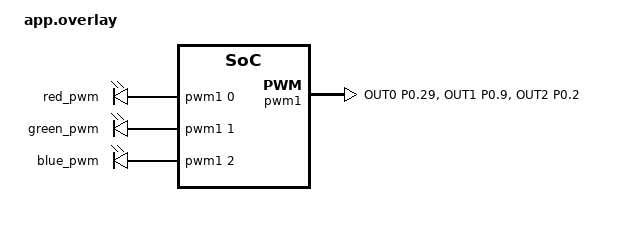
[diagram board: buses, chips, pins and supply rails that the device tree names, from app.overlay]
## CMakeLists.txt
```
cmake_minimum_required(VERSION 3.20.0)

find_package(Zephyr REQUIRED HINTS $ENV{ZEPHYR_BASE})

project(receiver_nrf)

target_sources(app PRIVATE 
        src/main.c
        src/oled.c
        ../common/gesture_config.c
)

target_include_directories(app PRIVATE
    ${CMAKE_CURRENT_SOURCE_DIR}/../common
)
```

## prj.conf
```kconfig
# GPIO
CONFIG_GPIO=y

# Logging
CONFIG_LOG=y
CONFIG_LOG_DEFAULT_LEVEL=3

# Bluetooth Peripheral
CONFIG_BT=y
CONFIG_BT_PERIPHERAL=y
CONFIG_BT_DEVICE_NAME="MyoLight"
CONFIG_BT_MAX_CONN=2

# Wio OLED
CONFIG_DISPLAY=y
CONFIG_CHARACTER_FRAMEBUFFER=y
CONFIG_I2C=y
CONFIG_SSD1306=y

# OLED framebuffer memory
CONFIG_HEAP_MEM_POOL_SIZE=16384

# Hardware PWM for red LED (P0.29)
CONFIG_PWM=y
```

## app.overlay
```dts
#include <zephyr/dt-bindings/pinctrl/nrf-pinctrl.h>
#include <zephyr/dt-bindings/pwm/pwm.h>

/ {
    myo_pwm_leds {
        compatible = "pwm-leds";
        // Verify R/G/B assignment against the real common-anode LED.
        red_pwm: red_pwm {
            pwms = <&pwm1 0 PWM_USEC(1000) PWM_POLARITY_INVERTED>;
        };
        green_pwm: green_pwm {
            pwms = <&pwm1 1 PWM_USEC(1000) PWM_POLARITY_INVERTED>;
        };
        blue_pwm: blue_pwm {
            pwms = <&pwm1 2 PWM_USEC(1000) PWM_POLARITY_INVERTED>;
        };
    };
};

&pinctrl {
    myo_pwm1_default: myo_pwm1_default {
        group1 {
            psels = <NRF_PSEL(PWM_OUT0, 0, 29)>,
                    <NRF_PSEL(PWM_OUT1, 0, 9)>,
                    <NRF_PSEL(PWM_OUT2, 0, 2)>;
        };
    };
    myo_pwm1_sleep: myo_pwm1_sleep {
        group1 {
            psels = <NRF_PSEL(PWM_OUT0, 0, 29)>,
                    <NRF_PSEL(PWM_OUT1, 0, 9)>,
                    <NRF_PSEL(PWM_OUT2, 0, 2)>;
            low-power-enable;
        };
    };
};

&pwm1 {
    status = "okay";
    pinctrl-0 = <&myo_pwm1_default>;
    pinctrl-1 = <&myo_pwm1_sleep>;
    pinctrl-names = "default", "sleep";
};

// Same NFC-pin override used in test_controller_wio for P0.09.
&uicr {
    nfct-pins-as-gpios;
};
```

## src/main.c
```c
#include <string.h>
#include <stdint.h>
#include <stdbool.h>
#include <errno.h>

#include <zephyr/kernel.h>
#include <zephyr/device.h>
#include <zephyr/drivers/gpio.h>
#include <zephyr/drivers/pwm.h>
#include <zephyr/logging/log.h>
#include <zephyr/sys/atomic.h>

#include <zephyr/bluetooth/bluetooth.h>
#include <zephyr/bluetooth/conn.h>
#include <zephyr/bluetooth/gatt.h>
#include <zephyr/bluetooth/uuid.h>

#include "myo_ble.h"
#include "gesture_config.h"
#include "receiver_links.h"
#include "oled.h"

LOG_MODULE_REGISTER(receiver, LOG_LEVEL_INF);

#define LED_NODE DT_ALIAS(led0)
#define RX_TIMEOUT_MS 1500U
#define TENSE_GUARD_MS 250U
#define ADV_RETRY_MS 250U

static const struct gpio_dt_spec led =
    GPIO_DT_SPEC_GET(LED_NODE, gpios);

    
// External common-anode RGB LED (active-low PWM).
// Assumed colors: R=P0.29, G=P0.09, B=P0.02.
#define RED_PWM_NODE DT_NODELABEL(red_pwm)
#define GREEN_PWM_NODE DT_NODELABEL(green_pwm)
#define BLUE_PWM_NODE DT_NODELABEL(blue_pwm)

static const struct pwm_dt_spec red_pwm = PWM_DT_SPEC_GET(RED_PWM_NODE);
static const struct pwm_dt_spec green_pwm = PWM_DT_SPEC_GET(GREEN_PWM_NODE);
static const struct pwm_dt_spec blue_pwm = PWM_DT_SPEC_GET(BLUE_PWM_NODE);

// Color state survives BLE disconnect and normal light toggles.
static atomic_t green_mix;
static atomic_t blue_mix;

static int set_channel(const struct pwm_dt_spec *channel, uint8_t percent)
{
    if (percent > 100U) percent = 100U;
    uint32_t pulse = (uint32_t)(
        ((uint64_t)channel->period * percent) / 100U);
    return pwm_set_dt(channel, channel->period, pulse);
}

static int set_rgb_output(uint8_t brightness,
                          uint8_t green, uint8_t blue)
{
    if (brightness > 100U) brightness = 100U;
    if (green > 100U) green = 100U;
    if (blue > 100U) blue = 100U;

    // Each FLEX/EXTEND shifts color away from red.
    uint8_t dominant = green > blue ? green : blue;
    uint8_t red = 100U - dominant;

    uint8_t r = (uint8_t)((uint32_t)red * brightness / 100U);
    uint8_t g = (uint8_t)((uint32_t)green * brightness / 100U);
    uint8_t b = (uint8_t)((uint32_t)blue * brightness / 100U);

    int err = set_channel(&red_pwm, r);
    if (err) return err;
    err = set_channel(&green_pwm, g);
    if (err) return err;
    return set_channel(&blue_pwm, b);
}

// Shared BLE connection state.
static atomic_t link_up;
static atomic_t advertising_needed;
static struct gc_receiver_links rx_links;
static atomic_t rx_valid;
static atomic_t last_rx_ms;
static atomic_t session_epoch;

// Actual light state, independent of orientation.
static atomic_t light_on;
static atomic_t brightness_pct = ATOMIC_INIT(50);
static atomic_t last_nonzero_brightness = ATOMIC_INIT(50);
static atomic_t brightness_seq_seen;
static atomic_t last_brightness_seq;

// Encoded latest accepted BLE command packet.
// Bits 16-23: packet type
// Bits  8-15: first BLE byte
// Bits  0-7:  second BLE byte
// Zero means no command received.
static atomic_t oled_last_packet;

static void record_oled_packet(
    enum oled_rx_type type,
    uint8_t first,
    uint8_t second)
{
    uint32_t packed =
        ((uint32_t)type << 16) |
        ((uint32_t)first << 8) |
        (uint32_t)second;

    atomic_set(&oled_last_packet, (atomic_val_t)packed);
}


// Queue BLE packets for the main thread.
struct queued_gesture {
    struct myo_gesture_packet packet;
    uint32_t session;
    uint32_t timestamp_ms;
};

K_MSGQ_DEFINE(
    gesture_queue,
    sizeof(struct queued_gesture),
    8,
    4
);

/* Called on the first validated gesture-side GATT write. */
static void begin_gesture_session(void);

static bool accept_gesture_peer(struct bt_conn *conn)
{
    enum gc_claim_result result =
        gc_links_claim(&rx_links, conn, GC_PEER_GESTURE);
    if (result == GC_CLAIM_DENIED) {
        LOG_WRN("Rejected gesture write from other BLE peer");
        return false;
    }
    if (result == GC_CLAIM_NEW) {
        begin_gesture_session();
    }
    return true;
}

static ssize_t config_command_write(
    struct bt_conn *conn, const struct bt_gatt_attr *attr,
    const void *buf, uint16_t len, uint16_t offset, uint8_t flags)
{
    if (gc_links_claim(&rx_links, conn, GC_PEER_CONFIG) ==
        GC_CLAIM_DENIED) {
        return BT_GATT_ERR(BT_ATT_ERR_WRITE_NOT_PERMITTED);
    }
    return gc_config_write(conn, attr, buf, len, offset, flags);
}

static ssize_t config_response_read(
    struct bt_conn *conn, const struct bt_gatt_attr *attr,
    void *buf, uint16_t len, uint16_t offset)
{
    if (gc_links_claim(&rx_links, conn, GC_PEER_CONFIG) ==
        GC_CLAIM_DENIED) {
        return BT_GATT_ERR(BT_ATT_ERR_READ_NOT_PERMITTED);
    }
    return gc_config_read_response(conn, attr, buf, len, offset);
}

static ssize_t config_info_read(
    struct bt_conn *conn, const struct bt_gatt_attr *attr,
    void *buf, uint16_t len, uint16_t offset)
{
    if (gc_links_claim(&rx_links, conn, GC_PEER_CONFIG) ==
        GC_CLAIM_DENIED) {
        return BT_GATT_ERR(BT_ATT_ERR_READ_NOT_PERMITTED);
    }
    return gc_config_read_info(conn, attr, buf, len, offset);
}

// Main-thread gesture tracking.
static uint32_t processed_session = UINT32_MAX;
static bool sequence_seen;
static uint8_t last_sequence;

static bool tense_seen;
static uint32_t last_tense_ms;

static const char *gesture_name(uint8_t gesture)
{
    switch (gesture) {
    case MYO_GESTURE_SWIPE_UP:
        return "SWIPE_UP";
    case MYO_GESTURE_SWIPE_DOWN:
        return "SWIPE_DOWN";
    case MYO_GESTURE_SWIPE_LEFT:
        return "SWIPE_LEFT";
    case MYO_GESTURE_SWIPE_RIGHT:
        return "SWIPE_RIGHT";
    case MYO_GESTURE_TENSE:
        return "TENSE";
    case MYO_GESTURE_EXTEND:
        return "EXTEND";
    case MYO_GESTURE_FLEX:
        return "FLEX";
    default:
        return "UNKNOWN";
    }
}

// Existing legacy validity characteristic.
// This is now diagnostic only.
static ssize_t write_state(
    struct bt_conn *conn,
    const struct bt_gatt_attr *attr,
    const void *buf,
    uint16_t len,
    uint16_t offset,
    uint8_t flags)
{
    ARG_UNUSED(attr);

    if (offset != 0 || len != 1) {
        return BT_GATT_ERR(
            BT_ATT_ERR_INVALID_ATTRIBUTE_LEN);
    }

    if (flags & BT_GATT_WRITE_FLAG_PREPARE) {
        return 0;
    }

    uint8_t state = ((const uint8_t *)buf)[0];

    if (state != MYO_VALID && state != MYO_INVALID) {
        return BT_GATT_ERR(BT_ATT_ERR_UNLIKELY);
    }

    if (!accept_gesture_peer(conn)) {
        return BT_GATT_ERR(BT_ATT_ERR_WRITE_NOT_PERMITTED);
    }

    atomic_set(&rx_valid, state == MYO_VALID);
    atomic_set(&last_rx_ms, k_uptime_get_32());

    LOG_INF("Received: %s",
            state == MYO_VALID ? "VALID" : "INVALID");

    return len;
}

// NEW: Receive two-byte gesture packets.
static ssize_t write_gesture(
    struct bt_conn *conn,
    const struct bt_gatt_attr *attr,
    const void *buf,
    uint16_t len,
    uint16_t offset,
    uint8_t flags)
{
    ARG_UNUSED(attr);

    if (offset != 0 ||
        len != sizeof(struct myo_gesture_packet)) {
        return BT_GATT_ERR(
            BT_ATT_ERR_INVALID_ATTRIBUTE_LEN);
    }

    if (flags & BT_GATT_WRITE_FLAG_PREPARE) {
        return 0;
    }

    struct queued_gesture event = {0};

    memcpy(&event.packet, buf, sizeof(event.packet));

    if (!myo_gesture_valid(event.packet.gesture)) {
        LOG_WRN("Invalid gesture ID: %u",
                event.packet.gesture);

        return BT_GATT_ERR(
            BT_ATT_ERR_VALUE_NOT_ALLOWED);
    }

    if (!accept_gesture_peer(conn)) {
        return BT_GATT_ERR(BT_ATT_ERR_WRITE_NOT_PERMITTED);
    }

    event.session =
        (uint32_t)atomic_get(&session_epoch);

    event.timestamp_ms = k_uptime_get_32();

    if (k_msgq_put(
            &gesture_queue,
            &event,
            K_NO_WAIT) != 0) {

        LOG_WRN("Gesture queue full");

        return BT_GATT_ERR(
            BT_ATT_ERR_INSUFFICIENT_RESOURCES);
    }
    // Record actual bytes received over BLE.
    record_oled_packet(
        OLED_RX_GESTURE,
        event.packet.gesture,
        event.packet.sequence
    );
    return len;
}

// Receive and store brightness.
static ssize_t write_brightness(
    struct bt_conn *conn,
    const struct bt_gatt_attr *attr,
    const void *buf,
    uint16_t len,
    uint16_t offset,
    uint8_t flags)
{
    ARG_UNUSED(attr);

    if (offset != 0 ||
        len != sizeof(struct myo_brightness_packet)) {
        return BT_GATT_ERR(
            BT_ATT_ERR_INVALID_ATTRIBUTE_LEN);
    }

    if (flags & BT_GATT_WRITE_FLAG_PREPARE) {
        return 0;
    }

    struct myo_brightness_packet packet;

    memcpy(&packet, buf, sizeof(packet));

    if (!myo_brightness_valid(packet.percent)) {
        LOG_WRN("Invalid brightness: %u",
                packet.percent);

        return BT_GATT_ERR(
            BT_ATT_ERR_VALUE_NOT_ALLOWED);
    }

    if (!accept_gesture_peer(conn)) {
        return BT_GATT_ERR(BT_ATT_ERR_WRITE_NOT_PERMITTED);
    }

    // Ignore duplicate brightness packets.
    if (atomic_get(&brightness_seq_seen) &&
        packet.sequence ==
            (uint8_t)atomic_get(&last_brightness_seq)) {

        LOG_DBG("Duplicate brightness seq=%u",
                packet.sequence);
        return len;
    }

    atomic_set(&last_brightness_seq, packet.sequence);
    atomic_set(&brightness_seq_seen, 1);
    atomic_set(&brightness_pct, packet.percent);
    if (packet.percent > 0) {
        atomic_set(&last_nonzero_brightness, packet.percent);
    }
        
    record_oled_packet(
        OLED_RX_BRIGHTNESS,
        packet.percent,
        packet.sequence
    );

    LOG_INF("BLE RX: BRIGHTNESS=%u%% seq=%u",
            packet.percent,
            packet.sequence);

    return len;
}


BT_GATT_SERVICE_DEFINE(myo_service,
    BT_GATT_PRIMARY_SERVICE(
        BT_UUID_DECLARE_128(MYO_SERVICE_UUID_BYTES)),

    BT_GATT_CHARACTERISTIC(
        BT_UUID_DECLARE_128(MYO_STATE_UUID_BYTES),
        BT_GATT_CHRC_WRITE |
        BT_GATT_CHRC_WRITE_WITHOUT_RESP,
        BT_GATT_PERM_WRITE,
        NULL,
        write_state,
        NULL),

    BT_GATT_CHARACTERISTIC(
        BT_UUID_DECLARE_128(MYO_GESTURE_UUID_BYTES),
        BT_GATT_CHRC_WRITE |
        BT_GATT_CHRC_WRITE_WITHOUT_RESP,
        BT_GATT_PERM_WRITE,
        NULL,
        write_gesture,
        NULL),

    BT_GATT_CHARACTERISTIC(
        BT_UUID_DECLARE_128(MYO_BRIGHTNESS_UUID_BYTES),
        BT_GATT_CHRC_WRITE |
        BT_GATT_CHRC_WRITE_WITHOUT_RESP,
        BT_GATT_PERM_WRITE,
        NULL,
        write_brightness,
        NULL),

    BT_GATT_CHARACTERISTIC(
        BT_UUID_DECLARE_128(GC_CONFIG_COMMAND_UUID_BYTES),
        BT_GATT_CHRC_WRITE,
        BT_GATT_PERM_WRITE,
        NULL,
        config_command_write,
        NULL),

    BT_GATT_CHARACTERISTIC(
        BT_UUID_DECLARE_128(GC_CONFIG_RESPONSE_UUID_BYTES),
        BT_GATT_CHRC_READ,
        BT_GATT_PERM_READ,
        config_response_read,
        NULL,
        NULL),

    BT_GATT_CHARACTERISTIC(
        BT_UUID_DECLARE_128(GC_CONFIG_INFO_UUID_BYTES),
        BT_GATT_CHRC_READ,
        BT_GATT_PERM_READ,
        config_info_read,
        NULL,
        NULL)
);


// Existing BLE advertising.
static const struct bt_data ad[] = {
    BT_DATA_BYTES(
        BT_DATA_FLAGS,
        BT_LE_AD_GENERAL | BT_LE_AD_NO_BREDR),

    BT_DATA_BYTES(
        BT_DATA_UUID128_ALL,
        MYO_SERVICE_UUID_BYTES),

    BT_DATA_BYTES(
        BT_DATA_NAME_COMPLETE,
        'M', 'y', 'o', 'L', 'i', 'g', 'h', 't'),
};

static int start_advertising(void)
{
    int err = bt_le_adv_start(
        BT_LE_ADV_CONN_FAST_1,
        ad, ARRAY_SIZE(ad),
        NULL, 0);

    if (err == -EALREADY) {
        return 0;
    }

    if (err == -ENOMEM) {
        /* Connection resources not yet recycled. */
        return err;
    }
    if (err) {
        LOG_WRN("Advertising failed: %d, retrying", err);
        return err;
    }

    LOG_INF("Advertising as MyoLight");
    return 0;
}

static void begin_gesture_session(void)
{
    atomic_inc(&session_epoch);
    k_msgq_purge(&gesture_queue);
    atomic_set(&oled_last_packet, 0);
    atomic_set(&rx_valid, 0);
    atomic_set(&last_rx_ms, 0);
    // Preserve lamp state/brightness across BLE sessions.
    atomic_set(&brightness_seq_seen, 0);
    atomic_set(&last_brightness_seq, 0);
    atomic_set(&link_up, 1);
    LOG_INF("MyoLight gesture controller active");
}

static void connected(struct bt_conn *conn, uint8_t err)
{
    ARG_UNUSED(conn);
    if (err) {
        LOG_ERR("Connection failed: %u", err);
        atomic_set(&advertising_needed, 1);
        return;
    }
    gc_links_connected(&rx_links);
    atomic_set(&advertising_needed, 1);
    LOG_INF("BLE peer connected (%d/%d)",
            gc_links_count(&rx_links), CONFIG_BT_MAX_CONN);
}

static void disconnected(struct bt_conn *conn, uint8_t reason)
{
    bool gesture_lost = gc_links_disconnected(&rx_links, conn);
    if (gesture_lost) {
        atomic_set(&link_up, 0);
        atomic_set(&rx_valid, 0);
        // Disconnect stops commands, not the lamp.
        atomic_set(&brightness_seq_seen, 0);
        atomic_set(&last_brightness_seq, 0);
        atomic_inc(&session_epoch);
        k_msgq_purge(&gesture_queue);
        atomic_set(&oled_last_packet, 0);
        LOG_INF("Gesture controller disconnected");
    } else {
        LOG_INF("Configuration/unclaimed peer disconnected");
    }
    LOG_INF("BLE disconnect reason: %u", reason);
    atomic_set(&advertising_needed, 1);
}

static void recycled(void)
{
    /* Retry advertising in main loop after a connection is freed. */
    atomic_set(&advertising_needed, 1);
}

BT_CONN_CB_DEFINE(conn_callbacks) = {
    .connected = connected,
    .disconnected = disconnected,
    .recycled = recycled,
};

static void execute_light_action(const struct gc_mapping *mapping)
{
    uint8_t action = mapping->action;
    int brightness = atomic_get(&brightness_pct);
    bool is_on = atomic_get(&light_on) != 0;

    switch (action) {
    case GC_ACTION_NONE:
        return;

    case GC_ACTION_LIGHT_TOGGLE:
        is_on = !is_on;
        if (is_on && brightness == 0) {
            brightness = atomic_get(&last_nonzero_brightness);
        }
        break;

    case GC_ACTION_LIGHT_ON:
        is_on = true;
        if (brightness == 0) {
            brightness = atomic_get(&last_nonzero_brightness);
        }
        break;

    case GC_ACTION_LIGHT_OFF:
        is_on = false;
        break;

    case GC_ACTION_LIGHT_SET_BRIGHTNESS:
        brightness = mapping->amount;
        is_on = brightness > 0;
        break;

    case GC_ACTION_LIGHT_BRIGHTNESS_UP:
        brightness += mapping->amount;
        if (brightness > 100) {
            brightness = 100;
        }
        is_on = brightness > 0;
        break;

    case GC_ACTION_LIGHT_BRIGHTNESS_DOWN:
        brightness -= mapping->amount;
        if (brightness < 0) {
            brightness = 0;
        }
        is_on = brightness > 0;
        break;

    case GC_ACTION_LIGHT_MORE_BLUE: {
        int next = atomic_get(&blue_mix) + mapping->amount;
        if (next > 100) next = 100;
        atomic_set(&blue_mix, next);
        break;
    }

    case GC_ACTION_LIGHT_MORE_GREEN: {
        int next = atomic_get(&green_mix) + mapping->amount;
        if (next > 100) next = 100;
        atomic_set(&green_mix, next);
        break;
    }

    default:
        LOG_WRN("Unsupported light action: %u", action);
        return;
    }

    if (brightness > 0) {
        atomic_set(&last_nonzero_brightness, brightness);
    }

    atomic_set(&brightness_pct, brightness);
    atomic_set(&light_on, is_on ? 1 : 0);

    LOG_INF("Light action=%u on=%u brightness=%u",
            action, is_on ? 1 : 0, brightness);
}

// Process received gestures outside BLE callbacks.
static void process_gesture(
    const struct queued_gesture *event)
{
    if (!atomic_get(&link_up) ||
        event->session !=
            (uint32_t)atomic_get(&session_epoch)) {
        return;
    }

    // Reset duplicate detection for new sessions.
    if (event->session != processed_session) {
        processed_session = event->session;
        sequence_seen = false;
        tense_seen = false;
    }

    uint8_t gesture = event->packet.gesture;
    uint8_t sequence = event->packet.sequence;

    if (sequence_seen && sequence == last_sequence) {
        LOG_WRN("Duplicate gesture: seq=%u", sequence);
        return;
    }

    sequence_seen = true;
    last_sequence = sequence;

    LOG_INF("BLE RX: %s id=%u seq=%u",
            gesture_name(gesture),
            gesture,
            sequence);

    if (gesture == MYO_GESTURE_TENSE) {
        if (tense_seen &&
            (uint32_t)(event->timestamp_ms -
                       last_tense_ms) < TENSE_GUARD_MS) {
            LOG_INF("TENSE ignored: cooldown");
            return;
        }

        tense_seen = true;
        last_tense_ms = event->timestamp_ms;
    }

    struct gc_mapping mapping = gc_config_get(gesture);
    execute_light_action(&mapping);
}

int main(void)
{
    if (!gpio_is_ready_dt(&led)) {
        LOG_ERR("LED not ready");
        return 0;
    }

    gpio_pin_configure_dt(
        &led, GPIO_OUTPUT_INACTIVE);

        
    if (!pwm_is_ready_dt(&red_pwm) ||
        !pwm_is_ready_dt(&green_pwm) ||
        !pwm_is_ready_dt(&blue_pwm)) {
        LOG_ERR("RGB PWM device not ready");
        return 0;
    }

    int pwm_err = set_rgb_output(0, 0, 0);
    if (pwm_err) {
        LOG_ERR("RGB PWM initialization failed: %d", pwm_err);
        return 0;
    }

    LOG_INF("RGB PWM ready; verify physical color pin order");


    LOG_INF("GestureControl receiver starting");

    int oled_err = oled_init();

    if (oled_err) {
        LOG_WRN("OLED initialization failed: %d", oled_err);
    } else {
        struct oled_status initial_status = {
            .connected = false,
            .valid = false,
            .fresh = false,
            .light_on = false,
            .brightness = 50,
            .rx_type = OLED_RX_NONE,
            .first_byte = 0,
            .second_byte = 0
        };

        oled_show(&initial_status);
    }

    gc_config_init(GC_TARGET_LIGHT);

    gc_links_init(&rx_links);

    int err = bt_enable(NULL);

    if (err) {
        LOG_ERR("Bluetooth init failed: %d", err);
        return 0;
    }

    atomic_set(&advertising_needed, 1);

    uint32_t next_adv_retry_ms = 0;

    bool first_render = true;
    bool previous_link = false;
    bool previous_valid = false;
    bool previous_fresh = false;
    bool previous_output = false;
    int previous_pwm_percent = -1;
    int previous_green_mix = -1;
    int previous_blue_mix = -1;
    uint8_t previous_brightness = 255;
    uint32_t previous_packet = UINT32_MAX;

    while (1) {
        // Process all pending gesture commands.
        struct queued_gesture event;

        while (k_msgq_get(
                &gesture_queue,
                &event,
                K_NO_WAIT) == 0) {

            process_gesture(&event);
        }

        uint32_t now = k_uptime_get_32();

        if (atomic_get(&advertising_needed) &&
            gc_links_count(&rx_links) < CONFIG_BT_MAX_CONN &&
            (int32_t)(now - next_adv_retry_ms) >= 0) {

            next_adv_retry_ms = now + ADV_RETRY_MS;

            if (start_advertising() == 0) {
                atomic_set(&advertising_needed, 0);
            }
        }

        bool fresh =
            (uint32_t)(now -
                (uint32_t)atomic_get(&last_rx_ms))
            < RX_TIMEOUT_MS;

        bool linked = atomic_get(&link_up) != 0;
        bool valid = atomic_get(&rx_valid) != 0;

        // Actual light is controlled by TENSE,
        // not by the validity heartbeat.
        bool output_on = atomic_get(&light_on) != 0;

        gpio_pin_set_dt(&led, output_on ? 1 : 0);

                
        // Physical brightness:
        // OFF = 0%
        // ON = most recently received brightness.
        uint8_t requested_percent =
            output_on
                ? (uint8_t)atomic_get(&brightness_pct)
                : 0U;

        // Defensive clamp.
        if (requested_percent > 100U) {
            requested_percent = 100U;
        }

        // Apply changed brightness or saved color even if disconnected.
        uint8_t green = (uint8_t)atomic_get(&green_mix);
        uint8_t blue = (uint8_t)atomic_get(&blue_mix);

        if ((int)requested_percent != previous_pwm_percent ||
            (int)green != previous_green_mix ||
            (int)blue != previous_blue_mix) {
            int ret = set_rgb_output(requested_percent, green, blue);
            if (ret) {
                LOG_ERR("RGB PWM update failed: %d", ret);
            } else {
                previous_pwm_percent = requested_percent;
                previous_green_mix = green;
                previous_blue_mix = blue;
                LOG_INF("RGB brightness=%u%% green=%u%% blue=%u%%",
                        requested_percent, green, blue);
            }
        }
                
        // Show only the most recently accepted gesture
        // or brightness BLE packet.
        uint32_t last_packet =
            (uint32_t)atomic_get(&oled_last_packet);

        uint8_t saved_brightness =
            (uint8_t)atomic_get(&brightness_pct);

        if (!oled_err &&
            (first_render ||
            linked != previous_link ||
            valid != previous_valid ||
            fresh != previous_fresh ||
            output_on != previous_output ||
            saved_brightness != previous_brightness ||
            last_packet != previous_packet)) {

            struct oled_status screen = {
                .connected = linked,
                .valid = valid,
                .fresh = fresh,
                .light_on = output_on,
                .brightness = saved_brightness,

                .rx_type = (enum oled_rx_type)
                    ((last_packet >> 16) & 0xffU),

                .first_byte = (uint8_t)
                    ((last_packet >> 8) & 0xffU),

                .second_byte = (uint8_t)
                    (last_packet & 0xffU)
            };

            int ret = oled_show(&screen);

            if (ret) {
                LOG_WRN("OLED update failed: %d", ret);
                oled_err = ret;
            }

            previous_link = linked;
            previous_valid = valid;
            previous_fresh = fresh;
            previous_output = output_on;
            previous_brightness = saved_brightness;
            previous_packet = last_packet;
            first_render = false;
        }
        k_msleep(50);

    }

    return 0;
}
```

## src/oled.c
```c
#include "oled.h"
#include "myo_ble.h"

#include <errno.h>
#include <stdio.h>

#include <zephyr/device.h>
#include <zephyr/devicetree.h>
#include <zephyr/drivers/display.h>
#include <zephyr/display/cfb.h>

static const struct device *const oled =
    DEVICE_DT_GET(DT_CHOSEN(zephyr_display));

int oled_init(void)
{
    if (!device_is_ready(oled)) {
        return -ENODEV;
    }

    int err = display_set_pixel_format(
        oled, PIXEL_FORMAT_MONO10);

    if (err) {
        err = display_set_pixel_format(
            oled, PIXEL_FORMAT_MONO01);

        if (err) {
            return err;
        }
    }

    err = cfb_framebuffer_init(oled);
    if (err) {
        return err;
    }

    err = cfb_framebuffer_clear(oled, true);
    if (err) {
        return err;
    }

    err = display_blanking_off(oled);

    if (err && err != -ENOSYS) {
        return err;
    }

    int fonts = cfb_get_numof_fonts(oled);

    for (int i = 0; i < fonts; i++) {
        uint8_t width, height;

        if (cfb_get_font_size(
                oled, i, &width, &height) == 0 &&
            width <= 10 && height <= 16) {

            return cfb_framebuffer_set_font(oled, i);
        }
    }

    return -ENOTSUP;
}

// Decode the actual gesture byte.
static const char *gesture_text(uint8_t gesture)
{
    switch (gesture) {
    case MYO_GESTURE_SWIPE_UP:
        return "SWIPE UP";

    case MYO_GESTURE_SWIPE_DOWN:
        return "SWIPE DOWN";

    case MYO_GESTURE_SWIPE_LEFT:
        return "SWIPE LEFT";

    case MYO_GESTURE_SWIPE_RIGHT:
        return "SWIPE RIGHT";

    case MYO_GESTURE_TENSE:
        return "TENSE";

    case MYO_GESTURE_FLEX:
        return "FLEX";

    case MYO_GESTURE_EXTEND:
        return "EXTEND";

    default:
        return "UNKNOWN";
    }
}

int oled_show(const struct oled_status *status)
{
    if (status == NULL) {
        return -EINVAL;
    }

    char line0[24];
    char line1[24];
    char line2[24];
    char line3[24];

    // Row 1: BLE connection and orientation status.
    // V:01 means valid, V:00 means invalid.
    // V:-- means no fresh validity heartbeat.
    if (!status->connected) {
        snprintf(line0, sizeof(line0),
                 "BLE:WAIT");
    } else if (!status->fresh) {
        snprintf(line0, sizeof(line0),
                 "BLE:ON V:--");
    } else {
        snprintf(line0, sizeof(line0),
                 "BLE:ON V:%02X",
                 status->valid ? 1U : 0U);
    }

    // Rows 2 and 3: exact received packet bytes
    // and their decoded meaning.
    switch (status->rx_type) {

    case OLED_RX_GESTURE:
        snprintf(line1, sizeof(line1),
                 "RX G:%02X %02X",
                 status->first_byte,
                 status->second_byte);

        snprintf(line2, sizeof(line2),
                 "%s",
                 gesture_text(status->first_byte));
        break;

    case OLED_RX_BRIGHTNESS:
        snprintf(line1, sizeof(line1),
                 "RX B:%02X %02X",
                 status->first_byte,
                 status->second_byte);

        snprintf(line2, sizeof(line2),
                 "BRIGHT %u%%",
                 status->first_byte);
        break;

    case OLED_RX_NONE:
    default:
        snprintf(line1, sizeof(line1),
                 "RX:--");

        snprintf(line2, sizeof(line2),
                 "NO COMMAND");
        break;
    }

    // Row 4: current commanded light state and
    // saved brightness.
    snprintf(line3, sizeof(line3),
             "LED %s %u%%",
             status->light_on ? "ON" : "OFF",
             status->brightness);

    int err = cfb_framebuffer_clear(oled, false);
    if (err) return err;

    err = cfb_print(oled, line0, 0, 0);
    if (err) return err;

    err = cfb_print(oled, line1, 0, 16);
    if (err) return err;

    err = cfb_print(oled, line2, 0, 32);
    if (err) return err;

    err = cfb_print(oled, line3, 0, 48);
    if (err) return err;

    return cfb_framebuffer_finalize(oled);
}
```

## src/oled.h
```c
#ifndef MYO_OLED_H
#define MYO_OLED_H

#include <stdbool.h>
#include <stdint.h>

enum oled_rx_type {
    OLED_RX_NONE = 0,
    OLED_RX_GESTURE = 1,
    OLED_RX_BRIGHTNESS = 2
};

struct oled_status {
    bool connected;
    bool valid;
    bool fresh;
    bool light_on;

    uint8_t brightness;

    enum oled_rx_type rx_type;
    uint8_t first_byte;
    uint8_t second_byte;
};

int oled_init(void);
int oled_show(const struct oled_status *status);

#endif
```
